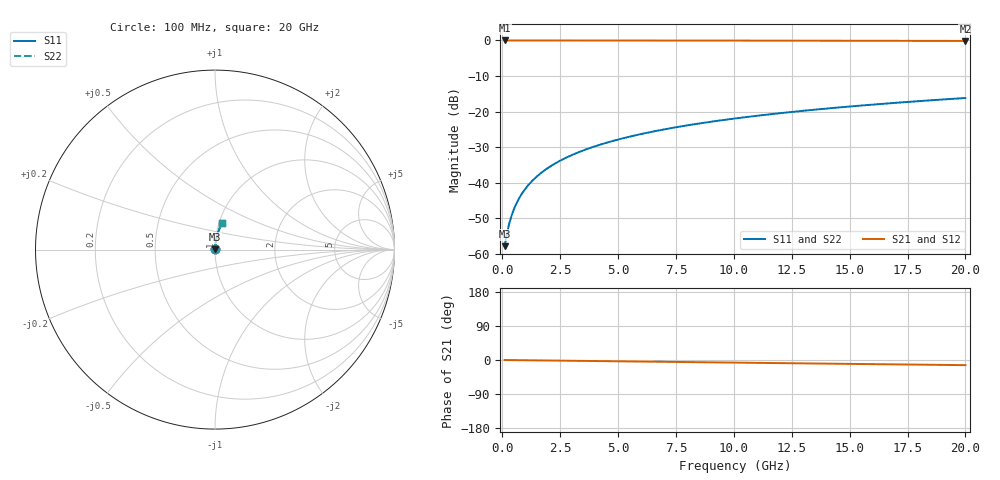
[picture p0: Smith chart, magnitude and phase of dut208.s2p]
! Touchstone file exported from HFSS 2026.1.0
!  File:  C:/ffzhzh/LocalFiles/Ansys_Project_Files/temp_train_TSV_208_1782991879_6248.aedt
!  Generated:  07:33:39 PM Jul  2, 2026
!  Design:  TSV
!  Project:  temp_train_TSV_208_1782991879_6248
! Variables:
!  h_bsmrdl = 2um
!  h_ox = 20um
!  h_rdl = 5um
!  h_sub = 99.28um
!  h_tmrdl = 5um
!  h_tsv = 99.28um
!  h_via = 3um
!  l_bsmrdl = 300um
!  l_sub = 406.88um
!  l_tmrdl = 200um
!  m_sub = 200um
!  pitch = 55.55um
!  r_tsv = 3.44um
!  s_tmrdl = 10um
!  w_bsmrdl = 18um
!  w_sub = 500um
!  w_tmrdl = 12um
!  x_tsv_center1 = 206um
!  x_tsv_center2 = 524um
!  x_tsv_center3 = 736um
!  x_tsv_center4 = 1054um
!  x_tsv_center5 = 1266um
!  x_tsv_center6 = 1584um
# GHz S MA R 50.000000
! Terminal data exported
! Port[1] = TSV1_1_T1
! Port[2] = TSV1_1_T2
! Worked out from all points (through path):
!   200 points, 100 MHz to 20 GHz, reference 50 ohm
!   highest |S21| = -0.01 dB at 100 MHz (marker M1); lowest = -0.1 dB at 20 GHz (marker M2)
!   group delay of S21, straight-line fit = 1.88 ps
!   lowest |S11| = -57.8 dB at 100 MHz (marker M3), VSWR 1.00, Z = 50.1 + j0.0829 ohm
!   |S11| at or under -10 dB: start of sweep to end of sweep
!   |S22| runs from -57.8 to -16.2 dB; largest |S21 - S12| = 5.3e-15
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0.1  0.001282 40.2  0.999 -0.1  0.999 -0.1  0.001282 40.2
! Gamma 0 0 0 0
! Port Impedance 50 0 50 0
0.2  0.001926 59.1  0.999 -0.1  0.999 -0.1  0.001926 59.1
0.3  0.002668 67.9  0.999 -0.2  0.999 -0.2  0.002668 67.9
0.4  0.003443 72.7  0.999 -0.3  0.999 -0.3  0.003443 72.7
0.5  0.004232 75.8  0.999 -0.4  0.999 -0.4  0.004232 75.8
0.6  0.005029 77.9  0.999 -0.4  0.999 -0.4  0.005029 77.9
0.8  0.006635 80.5  0.9989 -0.6  0.9989 -0.6  0.006635 80.5
1.1  0.00906 82.5  0.9989 -0.8  0.9989 -0.8  0.00906 82.5
1.5  0.0123 83.8  0.9988 -1.1  0.9988 -1.1  0.0123 83.8
1.8  0.01473 84.3  0.9987 -1.3  0.9987 -1.3  0.01473 84.3
2.1  0.01717 84.6  0.9987 -1.5  0.9987 -1.5  0.01717 84.6
2.7  0.02202 84.8  0.9985 -1.9  0.9985 -1.9  0.02202 84.8
3.5  0.02846 84.8  0.9982 -2.4  0.9982 -2.4  0.02846 84.8
4.2  0.03407 84.5  0.9979 -2.9  0.9979 -2.9  0.03407 84.5
5  0.04044 84.2  0.9975 -3.5  0.9975 -3.5  0.04044 84.2
5.9  0.04757 83.7  0.997 -4.1  0.997 -4.1  0.04757 83.7
6.8  0.05465 83.2  0.9965 -4.7  0.9965 -4.7  0.05465 83.2
8.3  0.06638 82.3  0.9955 -5.7  0.9955 -5.7  0.06638 82.3
10.1  0.08034 81.2  0.9942 -7.0  0.9942 -7.0  0.08034 81.2
13.4  0.1057 79.2  0.9915 -9.2  0.9915 -9.2  0.1057 79.2
16.7  0.1306 77.2  0.9882 -11.4  0.9882 -11.4  0.1306 77.2
20  0.1551 75.1  0.9843 -13.6  0.9843 -13.6  0.1551 75.1
